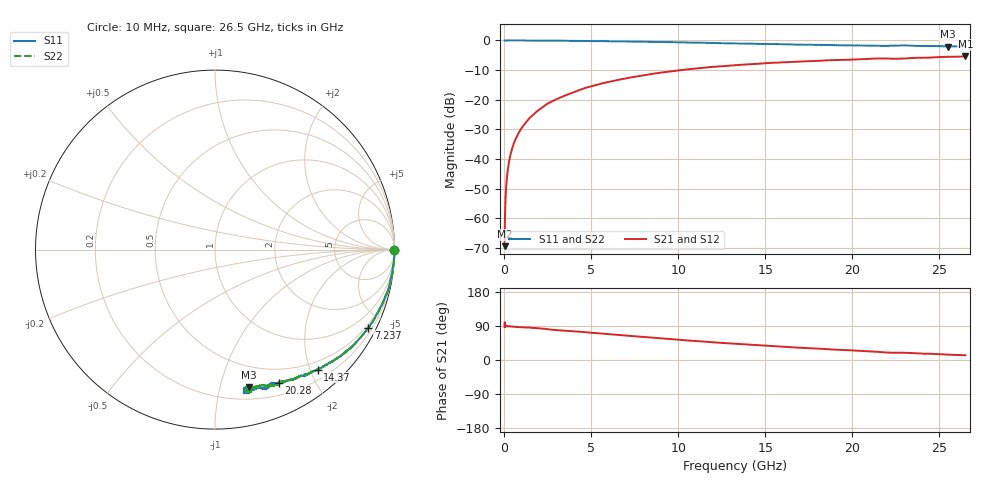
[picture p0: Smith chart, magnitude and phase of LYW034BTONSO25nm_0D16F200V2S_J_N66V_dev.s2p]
!Keysight Technologies,N5222B,MY61253708,A.15.00.15
!Date: Wednesday, June 19, 2024 09:17:00
!Correction: S11(C  2-Port  )
!S21(C  2-Port  )
!S12(C  2-Port  )
!S22(C  2-Port  )
!S2P File: Measurements: S11, S21, S12, S22:
# Hz S  RI  R 50
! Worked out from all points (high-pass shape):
!   2651 points, 10 MHz to 26.5 GHz, reference 50 ohm
!   highest |S21| = -5.36 dB at 26.5 GHz (marker M1); lowest = -69.4 dB at 10 MHz (marker M2)
!   |S21| within 3 dB of the highest: 13.24 GHz to end of sweep
!   lowest |S11| = -2.1 dB at 25.5 GHz (marker M3), VSWR 8.43, Z = 15.3 - j61.6 ohm
!   |S11| at or under -10 dB: nowhere
!   |S22| runs from -2.0 to 0.0 dB; largest |S21 - S12| = 0.0067
!   S11 on the Smith chart (normalised r, x): 10 MHz: open; 7.237 GHz: 0.38, -4.12; 14.37 GHz: 0.36, -2.12; 20.28 GHz: 0.33, -1.54; 26.5 GHz: 0.28, -1.20
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1e7  0.9989 -0.00245  1.79e-05 0.000338  1.28e-05 0.000493  0.9986 -0.00127
6.997736e7  1 -0.00525  1.48e-05 0.00239  -3.49e-06 0.00235  0.9996 -0.00491
1.599434e8  0.9998 -0.0117  9.4e-05 0.00545  5.79e-05 0.00549  0.9995 -0.011
1.999283e8  1 -0.014  9.73e-05 0.00681  0.000107 0.00687  0.9996 -0.0134
2.599057e8  0.9994 -0.0183  0.000173 0.00885  0.000168 0.00895  0.9994 -0.0175
3.598679e8  0.9993 -0.0252  0.000301 0.0122  0.000355 0.0123  0.9992 -0.0246
4.898189e8  0.9988 -0.034  0.000551 0.0166  0.000588 0.0168  0.9988 -0.033
6.497585e8  0.9983 -0.0445  0.00099 0.022  0.000941 0.0222  0.9984 -0.0437
8.49683e8  0.9979 -0.0579  0.00164 0.0287  0.00162 0.0289  0.9977 -0.0578
1.459453e9  0.99 -0.1005  0.00391 0.0496  0.00398 0.0498  0.9924 -0.0969
2.349117e9  0.9805 -0.1563  0.0109 0.0804  0.0112 0.081  0.9818 -0.1568
3.208792e9  0.9683 -0.212  0.0224 0.1065  0.0227 0.1072  0.9683 -0.2116
4.428332e9  0.9393 -0.2858  0.0407 0.1448  0.0411 0.1457  0.9406 -0.2837
7.237272e9  0.8541 -0.4363  0.1059 0.2118  0.1075 0.2127  0.8549 -0.4359
8.846664e9  0.794 -0.5079  0.151 0.2392  0.1527 0.24  0.7946 -0.5071
1.3255e10  0.6147 -0.6449  0.2801 0.2603  0.2826 0.2601  0.617 -0.6441
1.437458e10  0.5717 -0.6688  0.3094 0.2557  0.3114 0.2557  0.5734 -0.6654
1.767333e10  0.441 -0.7202  0.3855 0.2294  0.3892 0.2277  0.4501 -0.718
2.028235e10  0.3551 -0.7428  0.4355 0.2008  0.4384 0.1982  0.3699 -0.7442
2.209166e10  0.3068 -0.7496  0.4662 0.1654  0.4682 0.1624  0.2992 -0.7556
2.550038e10  0.1891 -0.7649  0.5136 0.1278  0.5152 0.1276  0.208 -0.7679
2.65e10  0.1702 -0.7795  0.527 0.1168  0.5264 0.1129  0.1817 -0.7777
